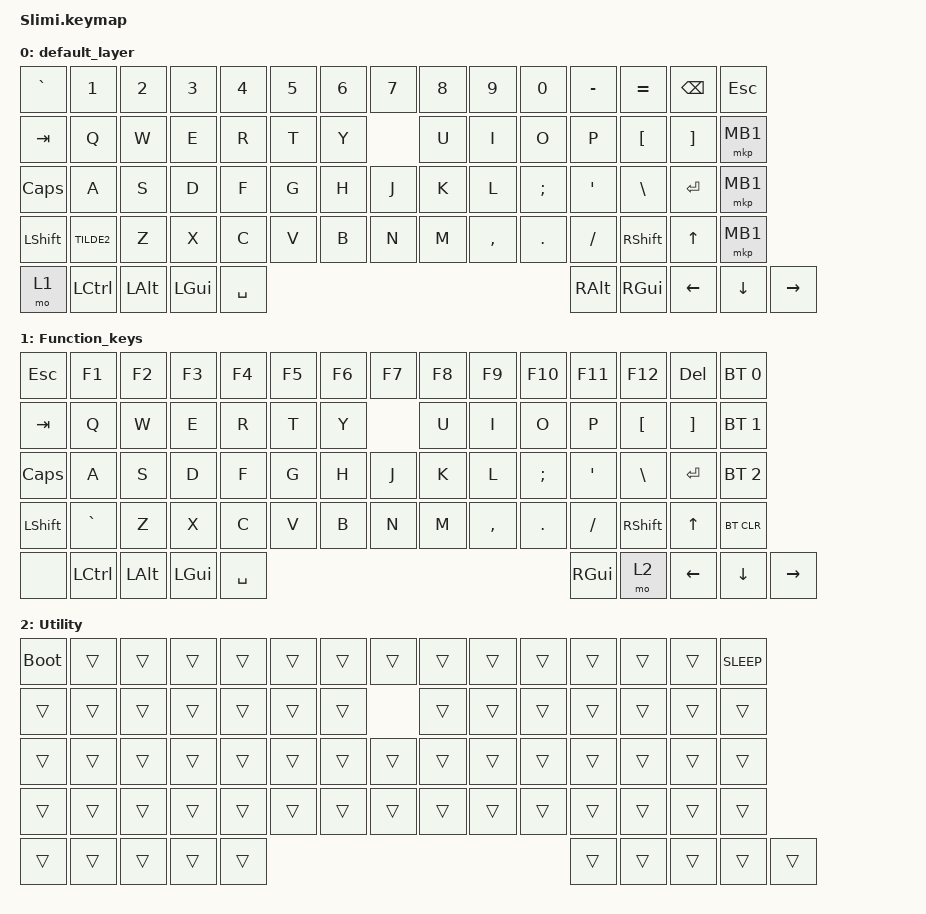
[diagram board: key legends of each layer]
#include <behaviors.dtsi>
#include <dt-bindings/zmk/bt.h>
#include <dt-bindings/zmk/keys.h>
#include <dt-bindings/zmk/mouse.h>

/ {
    keymap {
        compatible = "zmk,keymap";

        default_layer {
            bindings = <
&kp GRAVE   &kp N1      &kp N2    &kp N3    &kp N4  &kp N5  &kp N6  &kp N7     &kp N8  &kp N9     &kp N0   &kp MINUS      &kp EQUAL                  &kp BSPC   &kp ESC
&kp TAB                 &kp Q     &kp W     &kp E   &kp R   &kp T   &kp Y      &kp U   &kp I      &kp O    &kp P          &kp LBKT       &kp RBKT               &mkp MB1
&kp CAPS                &kp A     &kp S     &kp D   &kp F   &kp G   &kp H      &kp J   &kp K      &kp L    &kp SEMI       &kp SQT        &kp BSLH    &kp ENTER  &mkp MB1
&kp LSHIFT  &kp TILDE2  &kp Z     &kp X     &kp C   &kp V   &kp B   &kp N      &kp M   &kp COMMA  &kp DOT  &kp FSLH                      &kp RSHIFT  &kp UP     &mkp MB1
&mo 1       &kp LCTRL   &kp LALT  &kp LGUI                          &kp SPACE                              &kp RIGHT_ALT  &kp RIGHT_GUI  &kp LEFT    &kp DOWN   &kp RIGHT
            >;
        };

        Function_keys {
            bindings = <
&kp ESC    &kp F1     &kp F2    &kp F3    &kp F4  &kp F5  &kp F6  &kp F7     &kp F8  &kp F9     &kp F10  &kp F11   &kp F12              &kp DELETE  &bt BT_SEL 0
&kp TAB               &kp Q     &kp W     &kp E   &kp R   &kp T   &kp Y      &kp U   &kp I      &kp O    &kp P     &kp LBKT  &kp RBKT               &bt BT_SEL 1
&kp CAPS              &kp A     &kp S     &kp D   &kp F   &kp G   &kp H      &kp J   &kp K      &kp L    &kp SEMI  &kp APOS  &kp BSLH   &kp ENTER   &bt BT_SEL 2
&kp LSHFT  &kp GRAVE  &kp Z     &kp X     &kp C   &kp V   &kp B   &kp N      &kp M   &kp COMMA  &kp DOT  &kp FSLH            &kp RSHFT  &kp UP      &bt BT_CLR
&none      &kp LCTRL  &kp LALT  &kp LGUI                          &kp SPACE                              &kp RGUI  &mo 2     &kp LEFT   &kp DOWN    &kp RIGHT
            >;
        };

        Utility {
            bindings = <
&bootloader  &trans  &trans  &trans  &trans  &trans  &trans  &trans  &trans  &trans  &trans  &trans  &trans          &trans  &kp K_SLEEP
&trans               &trans  &trans  &trans  &trans  &trans  &trans  &trans  &trans  &trans  &trans  &trans  &trans          &trans
&trans               &trans  &trans  &trans  &trans  &trans  &trans  &trans  &trans  &trans  &trans  &trans  &trans  &trans  &trans
&trans       &trans  &trans  &trans  &trans  &trans  &trans  &trans  &trans  &trans  &trans  &trans          &trans  &trans  &trans
&trans       &trans  &trans  &trans                          &trans                          &trans  &trans  &trans  &trans  &trans
            >;
        };
    };
};
